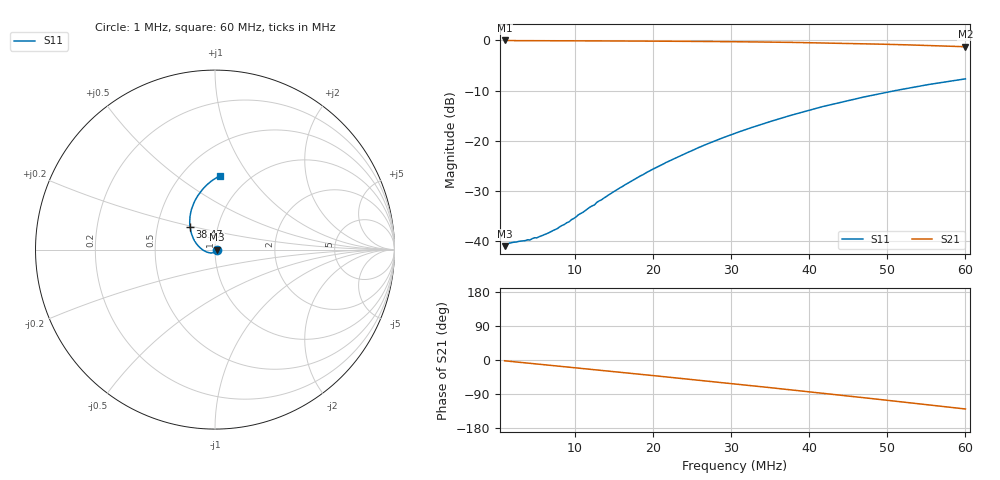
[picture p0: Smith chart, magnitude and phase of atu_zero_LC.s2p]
! S11/S21 from S-A-A-2 VNA
! Written 2026-11-14 07:38:37 by the saav2 MCP server
! S12 and S22 were not measured (1.5-port VNA) and are written as 0
# HZ S RI R 50
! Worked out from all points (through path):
!   201 points, 1 MHz to 60 MHz, reference 50 ohm
!   highest |S21| = 0.00 dB at 1 MHz (marker M1); lowest = -1.3 dB at 60 MHz (marker M2)
!   group delay of S21, straight-line fit = 5.97 ns
!   lowest |S11| = -41.0 dB at 1 MHz (marker M3), VSWR 1.02, Z = 50.9 - j0.103 ohm
!   |S11| at or under -10 dB: start of sweep to 51.04 MHz
!   S12 and S22 are empty: the file has one direction only
!   S11 on the Smith chart (normalised r, x): 1 MHz: 1.02, -0.00; 38.47 MHz: 0.74, +0.19; 60 MHz: 0.75, +0.74
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1000000  0.00881 -0.00101  0.9991 -0.0353  0 0  0 0
1590000  0.0093 -0.00196  0.9959 -0.0582  0 0  0 0
4245000  0.00749 -0.00697  0.9833 -0.1514  0 0  0 0
6310000  0.00439 -0.0109  0.9682 -0.2232  0 0  0 0
7785000  0.0011 -0.0133  0.9543 -0.2735  0 0  0 0
9260000  -0.00284 -0.0153  0.9378 -0.3231  0 0  0 0
1.044e7  -0.00649 -0.017  0.9226 -0.3619  0 0  0 0
1.103e7  -0.00861 -0.0173  0.9143 -0.3813  0 0  0 0
1.1915e7  -0.0117 -0.0183  0.9015 -0.4097  0 0  0 0
1.2505e7  -0.0141 -0.018  0.8919 -0.4284  0 0  0 0
1.28e7  -0.0154 -0.0187  0.8873 -0.438  0 0  0 0
1.575e7  -0.0284 -0.0183  0.8346 -0.528  0 0  0 0
2.0765e7  -0.0551 -0.00941  0.7222 -0.6663  0 0  0 0
2.578e7  -0.0843 0.0112  0.585 -0.7831  0 0  0 0
3.05e7  -0.1104 0.043  0.4371 -0.867  0 0  0 0
3.404e7  -0.1262 0.0752  0.3161 -0.9114  0 0  0 0
3.8465e7  -0.1389 0.1248  0.1572 -0.9416  0 0  0 0
4.053e7  -0.1408 0.1513  0.0809 -0.9457  0 0  0 0
4.525e7  -0.1331 0.2168  -0.0917 -0.929  0 0  0 0
5.0265e7  -0.1017 0.2904  -0.2665 -0.8737  0 0  0 0
5.528e7  -0.0457 0.3604  -0.4234 -0.7834  0 0  0 0
6e7  0.0298 0.4127  -0.5476 -0.6702  0 0  0 0
